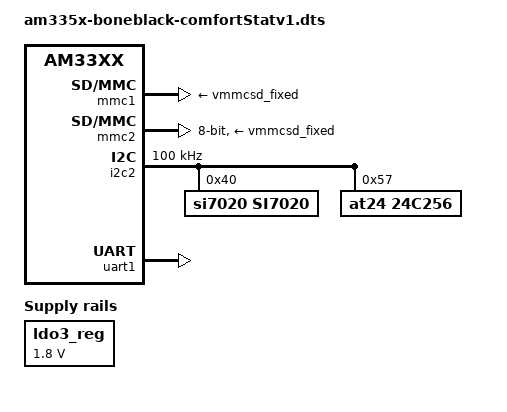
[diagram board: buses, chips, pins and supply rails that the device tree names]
/*
 * Copyright (C) 2012 Texas Instruments Incorporated - http://www.ti.com/
 *
 * This program is free software; you can redistribute it and/or modify
 * it under the terms of the GNU General Public License version 2 as
 * published by the Free Software Foundation.
 */
/dts-v1/;

#include "am33xx.dtsi"
#include "am335x-bone-common.dtsi"

&ldo3_reg {
	regulator-min-microvolt = <1800000>;
	regulator-max-microvolt = <1800000>;
	regulator-always-on;
};

&mmc1 {
	vmmc-supply = <&vmmcsd_fixed>;
};

&mmc2 {
	vmmc-supply = <&vmmcsd_fixed>;
	pinctrl-names = "default";
	pinctrl-0 = <&emmc_pins>;
	bus-width = <8>;
	ti,non-removable;
	status = "okay";
};

&am33xx_pinmux {
	cape_v1_gpio_pins: cape_v1_gpio_pins {
                pinctrl-single,pins = <
                    /***** P8 *****/
                    0x090 0x2f  /* Right btn (in,  mode 7) */
                    0x094 0x2f  /* dig therm (in,  mode 7) */
                    0x09c 0x2f  /* Left btn  (in,  mode 7) */
                    0x098 0x2f  /* Down btn  (in,  mode 7) */
                    0x034 0x2f  /* up btn    (in,  mode 7) */
                    0x030 0x2f  /* a btn     (in,  mode 7) */
                    0x024 0x0f  /* Cool S    (out, mode 7) */
                    0x028 0x0f  /* cool r    (out, mode 7) */
                    0x03c 0x0f  /* fan r     (out, mode 7) */
                    0x038 0x0f  /* fan s     (out, mode 7) */
                    0x02c 0x0f  /* head r    (out, mode 7) */
                    0x08c 0x0f  /* head s    (out, mode 7) */
                    /***** P9 *****/
                    0x154 0x2f  /* encode b  (in,  mode 7) */
                    0x150 0x2f  /* rfm_int   (in,  mode 7) */
                    0x044 0x0f  /* led r     (out, mode 7) */
                    0x1ac 0x0f  /* led g     (out, mode 7) */
                    0x1a4 0x0f  /* led b     (out, mode 7) */
                    /* spi.... */
                    /* adc .... */
                 /*   0x1a8 0x0f*/  /* encode a  (in,  mode 7) */
                 /*   0x1b4 0x0f*/
                 /*   0x1a0 0x0f*/  /* encode sw (in,  mode 7) */
                 /*   0x164 0x0f*/
                    0x17c 0x73  /* i2c2 scl */
                    0x178 0x73  /* i2c2 sda */
                >;
        };

	cape_v2_gpio_pins: cape_v2_gpio_pins {
		pinctrl-single,pins = <
                    /***** P8 *****/
                    0x090 0x0f  /* 7 - led b       (out,  mode 7) */
                    0x094 0x0f  /* 8 - led r       (out,  mode 7) */
                    0x09c 0x0f  /* 9 - led g       (out,  mode 7) */
                    0x098 0x0f  /* 10 - heat cntl  (out,  mode 7) */
                    0x030 0x0f  /* 12 - cool cntl  (out,  mode 7) */
                    0x028 0x0f  /* 14 - fan cntl   (out,  mode 7) */
                    0x038 0x0f  /* 16 - aux cntl   (out,  mode 7) */

                    /***** P9 *****/
                /*    0x04c 0x0f   16 - dig therm  (in,  mode 7) */
                    0x15c 0x2f  /* 17 - up btn     (in,  mode 7) */
                    0x158 0x2f  /* 18 - down btn   (in,  mode 7) */
                    0x150 0x2f  /* 22 - rfm_int    (in,  mode 7) */
                    /* spi.... */
                    /* adc .... */
                    0x1a4 0x31  /* 27 - encode b   (in , mode 1, eQEP0B) */
                    0x1a8 0x2f  /* 41 - encode sw  (in,  mode 7) */
                  /*  0x1b4 0x0f   not used, set in safe input state */
                  /*  0x1a0 0x31   42 - encode a   (in,  mode 1, eQEP0A) */
                  /*  0x164 0x0f   not used, set in safe input state */

                    0x17c 0x73  /* i2c2 scl */
                    0x178 0x73  /* i2c2 sda */
		>;
	};
	i2c2_pins: i2c2_pins {
		pinctrl-single,pins = <
                    0x17c 0x73  /* i2c2 scl */
                    0x178 0x73  /* i2c2 sda */
		>;
	};
	uart1_pins: uart1_pins {
		pinctrl-single,pins = <
                    0x180 0x20  /* uart rx */
                    0x184 0x00  /* uart tx */
		>;
	};
	/* unused for now, done as a helper block of io */
	eqep0_pins: eqep0_pins {
		pinctrl-single,pins = <
                    0x1a4 0x31  /* 27 - encode b   (in , mode 1, eQEP0B) */
                    0x1a8 0x2f  /* 41 - encode sw  (in,  mode 7) */
                    0x1b4 0x2f  /* not used, set in safe input state */
                    0x1a0 0x31  /* 42 - encode a   (in,  mode 1, eQEP0A) */
                    0x164 0x2f  /* not used, set in safe input state */
		>;
	};
};

/*&ocp {
	pinmux_helper_capeio {
		compatible = "bone-pinmux-helper";
		status = "okay";
		pinctrl-names = "default";
		pinctrl-0 = <&cape_v2_gpio_pins>;
	};
};*/
	/* todo break out common io into peripheral helpers */

&i2c2 {
	pinctrl-names = "default";
	/*pinctrl-0 = <&i2c2_pins>;*/
	pinctrl-0 = <&cape_v1_gpio_pins>;
	clock-frequency = <100000>;
	status = "okay";
	#address-cells = <1>;
	#size-cells = <0>;
	/* temp and humidity sensor */
	/* v2 board only */
	si7020@40 {
	      compatible = "si7020,si7020";
	      reg = <0x40>;
	};
	/* eeprom */
	at24@57 {
	      compatible = "at24,24c256";
	      reg = <0x57>;
	};
};

/* lcd output */
&uart1 {
	pinctrl-names = "default";
	pinctrl-0 = <&uart1_pins>;
	status = "okay";
};

/* v2 board only */
&eqep0 {
/*	pinctrl-names = "default";
	pinctrl-0 = <&eqep0_pins>;*/

	count_mode = <0>; /* 0 - Quadrature mode, normal 90 phase offset cha & chb. */
			  /* 1 - Direction mode. cha input = clock, chb input = direction */
	swap_inputs = <0>; /* Are channel A and channel B swapped? (0 - no, 1 - yes) */
	invert_qa = <0>; /* Should we invert the channel A input? */
	invert_qb = <0>; /* Should we invert the channel B input? */
	invert_qi = <0>; /* Should we invert the index input? */
	invert_qs = <0>; /* Should we invert the strobe input? */
/*	status = "okay";*/
};
